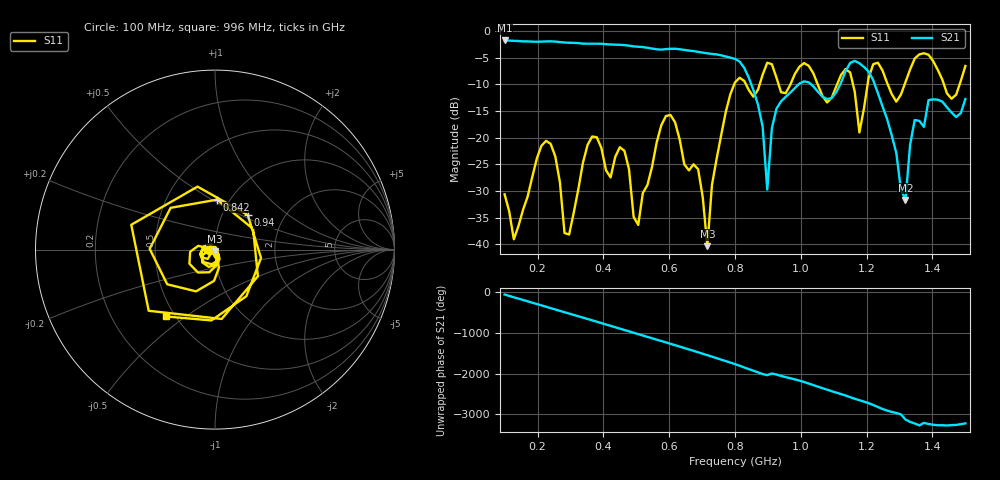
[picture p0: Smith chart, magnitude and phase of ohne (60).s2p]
! NanoVNA-App
! Date: 2025-09-25 14:21:16
! Start: 100MHz Stop: 1,5GHz Points: 101
! S-Parameter data: F S11 S21 S12 S22
# Hz S RI R 50
!  Frequency  S11_Real  S11_Imag  S21_Real  S21_Imag  S12_Real  S12_Imag  S22_Real  S22_Imag
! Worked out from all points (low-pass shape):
!   101 points, 100 MHz to 1.5 GHz, reference 50 ohm
!   highest |S21| = -1.79 dB at 100 MHz (marker M1); lowest = -31.7 dB at 1.318 GHz (marker M2)
!   |S21| within 3 dB of the highest: start of sweep to 771.3 MHz
!   lowest |S11| = -40.4 dB at 716 MHz (marker M3), VSWR 1.02, Z = 49.9 - j0.947 ohm
!   |S11| at or under -10 dB: start of sweep to 797.8 MHz; 833.1 MHz to 875.1 MHz (42.02 MHz wide, 4.92 % of centre); 1.051 GHz to 1.111 GHz (59.38 MHz wide, 5.49 % of centre)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
!   S12 and S22 are empty: the file has one direction only
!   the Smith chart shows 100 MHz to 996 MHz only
!   S11 on the Smith chart (normalised r, x): 100 MHz: 0.94, -0.01; 842 MHz: 0.88, +0.53; 940 MHz: 1.32, +0.55; 996 MHz: 0.45, -0.42
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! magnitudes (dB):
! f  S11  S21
! 100 MHz  -30.6  -1.8
! 128 MHz  -39.1  -1.9
! 226 MHz  -20.6  -2.0
! 296 MHz  -38.2  -2.2
! 338 MHz  -24.7  -2.4
! 464 MHz  -22.5  -2.7
! 506 MHz  -36.4  -3.0
! 576 MHz  -17.7  -3.5
! 688 MHz  -25.9  -3.9
! 716 MHz  -40.4  -4.2
! 800 MHz  -9.7  -5.3
! 842 MHz  -11.1  -8.8
! 898 MHz  -6.0  -29.7
! 940 MHz  -11.5  -13.2
! 996 MHz  -6.7  -9.9
! 1.038 GHz  -7.9  -10.4
! 1.178 GHz  -19.0  -6.1
! 1.22 GHz  -6.2  -9.3
! 1.276 GHz  -11.8  -19.5
! 1.318 GHz  -9.6  -31.7
! 1.346 GHz  -5.2  -16.7
! 1.5 GHz  -6.6  -12.8
